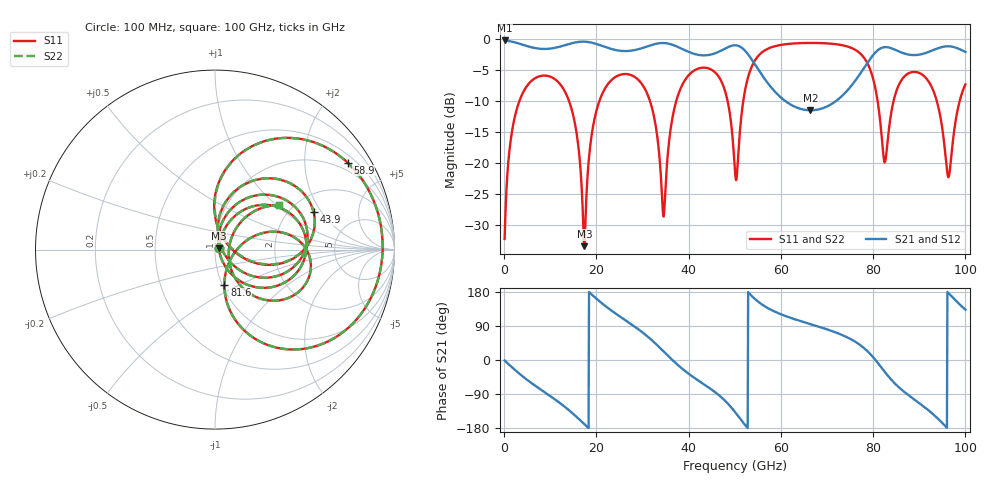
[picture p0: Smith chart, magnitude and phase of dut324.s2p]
! Touchstone file exported from HFSS 2026.1.0
!  File:  C:/ffzhzh/LocalFiles/Ansys_Project_Files/temp_train_TSV_RDL_324_1783702139_45164.aedt
!  Generated:  12:57:44 AM Jul 11, 2026
!  Design:  TSV_RDL
!  Project:  temp_train_TSV_RDL_324_1783702139_45164
! Variables:
!  h_bsmrdl = 2.96um
!  h_ox = 20um
!  h_rdl = 5um
!  h_sub = 51.13um
!  h_tmrdl = 2.48um
!  h_tsv = 51.13um
!  h_via = 3um
!  l_bsmrdl = 328.4um
!  l_sub = 3366.37um
!  l_tmrdl = 462.03um
!  m_sub = 200um
!  pitch = 46.18um
!  r_tsv = 11.21um
!  s_tmrdl = 10um
!  w_bsmrdl = 28.4um
!  w_sub = 500um
!  w_tmrdl = 15.95um
!  x_tsv_center1 = 470.005um
!  x_tsv_center2 = 826.805um
!  x_tsv_center3 = 1304.785um
!  x_tsv_center4 = 1661.585um
!  x_tsv_center5 = 2139.565um
!  x_tsv_center6 = 2496.365um
# GHz S MA R 50.000000
! Terminal data exported
! Port[1] = TM_RDL1_1_T1
! Port[2] = TM_RDL5_1_T1
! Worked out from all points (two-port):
!   1000 points, 100 MHz to 100 GHz, reference 50 ohm
!   highest |S21| = -0.19 dB at 100 MHz (marker M1); lowest = -11.4 dB at 66.4 GHz (marker M2)
!   |S21| within 3 dB of the highest: start of sweep to 53.61 GHz; 79.33 GHz to end of sweep
!   lowest |S11| = -33.4 dB at 17.4 GHz (marker M3), VSWR 1.04, Z = 52.1 + j0.66 ohm
!   |S11| at or under -10 dB: 14.09 GHz to 20.62 GHz (6.537 GHz wide, 37.7 % of centre); 31.63 GHz to 37.3 GHz (5.666 GHz wide, 16.4 % of centre); 93.82 GHz to 98.74 GHz (4.929 GHz wide, 5.12 % of centre) (the widest 3 of 6)
!   |S22| runs from -33.6 to -0.6 dB; largest |S21 - S12| = 1.4e-13
!   S11 on the Smith chart (normalised r, x): 100 MHz: 1.04, +0.02; 43.9 GHz: 2.66, +1.69; 58.9 GHz: 0.72, +3.19; 81.6 GHz: 1.02, -0.42; 100 GHz: 1.71, +1.04
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0.1  0.02458 27.9  0.9784 -1.2  0.9784 -1.2  0.02458 27.9
! Gamma 0 0 0 0
! Port Impedance 50 0 50 0
2.4  0.245 56.9  0.9428 -26.8  0.9428 -26.8  0.245 56.9
7.4  0.4997 14.2  0.8416 -73.5  0.8416 -73.5  0.4997 14.2
14  0.3227 -40.9  0.9144 -132.0  0.9144 -132.0  0.3227 -41.0
16.8  0.06485 -55.3  0.9569 -162.5  0.9569 -162.5  0.06465 -55.9
17.4  0.0215 17.1  0.957 -169.3  0.957 -169.3  0.02078 17.3
23.2  0.4664 38.3  0.8363 130.9  0.8363 130.9  0.4664 38.4
33.4  0.1422 -40.4  0.9268 36.6  0.9268 36.6  0.1421 -40.7
34.6  0.03726 29.0  0.9328 22.3  0.9328 22.3  0.03623 29.2
37.6  0.3449 71.1  0.8693 -12.5  0.8693 -12.5  0.3447 71.4
43.9  0.5877 20.7  0.7437 -69.0  0.7437 -69.0  0.5876 21.0
50.1  0.08186 11.9  0.8946 -137.9  0.8946 -137.9  0.08433 13.0
58.9  0.8834 33.3  0.3718 126.4  0.3718 126.4  0.8835 33.3
66.4  0.9346 4.3  0.2676 94.7  0.2676 94.7  0.9345 4.3
66.7  0.9346 3.2  0.2677 93.6  0.2677 93.6  0.9345 3.2
77.6  0.7418 -48.2  0.5563 35.7  0.5563 35.7  0.7416 -48.1
81.6  0.2058 -75.3  0.8444 -16.9  0.8444 -16.9  0.2057 -75.3
83.4  0.186 16.4  0.8589 -44.5  0.8589 -44.5  0.1862 16.4
88.6  0.5451 -12.3  0.7461 -101.3  0.7461 -101.3  0.5451 -12.3
94.8  0.2124 -55.0  0.8637 -163.9  0.8637 -163.9  0.2122 -55.1
96.4  0.07795 2.7  0.8783 175.9  0.8783 175.9  0.07774 2.8
100  0.4328 34.7  0.79 132.9  0.79 132.9  0.4329 34.8
